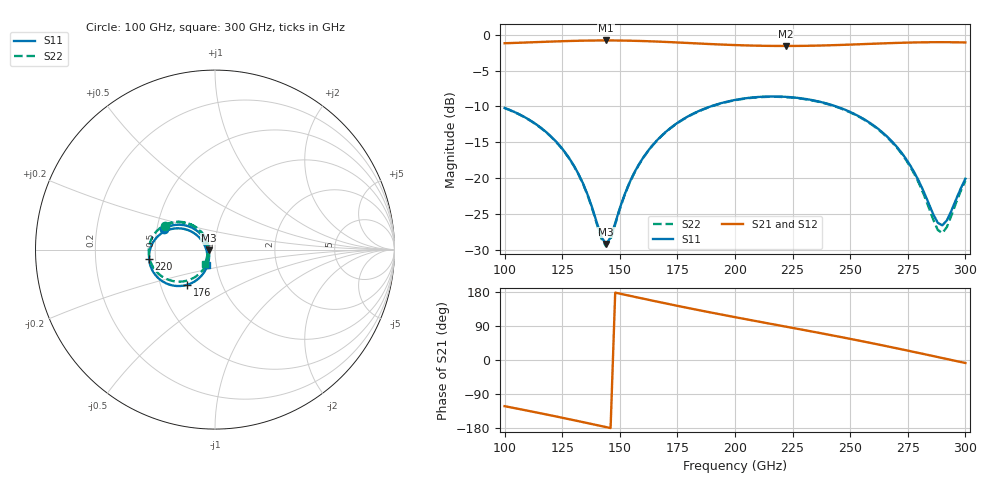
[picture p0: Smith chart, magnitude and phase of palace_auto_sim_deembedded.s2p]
! Created with skrf 1.11.0 (http://scikit-rf.org).
# GHz S DB R 50.0
!freq dBS11 angS11 dBS21 angS21 dBS12 angS12 dBS22 angS22
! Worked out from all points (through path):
!   101 points, 100 GHz to 300 GHz, reference 50 ohm
!   highest |S21| = -0.80 dB at 144 GHz (marker M1); lowest = -1.6 dB at 222 GHz (marker M2)
!   group delay of S21, straight-line fit = 3.38 ps
!   lowest |S11| = -29.2 dB at 144 GHz (marker M3), VSWR 1.07, Z = 46.7 - j0.461 ohm
!   |S11| at or under -10 dB: start of sweep to 189.3 GHz; 244 GHz to end of sweep
!   |S22| runs from -29.5 to -8.6 dB; largest |S21 - S12| = 1e-13
!   S11 on the Smith chart (normalised r, x): 100 GHz: 0.54, +0.14; 176 GHz: 0.68, -0.29; 220 GHz: 0.46, -0.05; 300 GHz: 0.90, -0.16
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100  -10.20 158.1  -1.19 -121.9  -1.19 -121.9  -10.23 154.3
120  -14.13 138.7  -0.96 -146.1  -0.96 -146.1  -14.17 133.9
128  -17.18 133.3  -0.88 -156.2  -0.88 -156.2  -17.23 128.2
134  -20.70 133.6  -0.83 -163.9  -0.83 -163.9  -20.76 127.9
142  -28.16 164.5  -0.80 -174.4  -0.80 -174.4  -28.40 158.5
144  -29.15 -171.9  -0.80 -177.0  -0.80 -177.0  -29.45 -177.3
146  -28.25 -147.9  -0.80 -179.6  -0.80 -179.6  -28.50 -152.7
152  -22.33 -118.2  -0.82 172.5  -0.82 172.5  -22.42 -123.2
156  -19.39 -115.0  -0.85 167.3  -0.85 167.3  -19.45 -120.4
168  -14.10 -120.9  -0.98 151.8  -0.98 151.8  -14.15 -126.9
176  -12.07 -128.2  -1.10 141.7  -1.10 141.7  -12.11 -134.6
200  -9.09 -152.3  -1.44 113.1  -1.44 113.1  -9.13 -159.8
220  -8.62 -172.3  -1.57 90.3  -1.57 90.3  -8.67 179.4
222  -8.66 -174.2  -1.57 88.1  -1.57 88.1  -8.70 177.3
234  -9.14 174.0  -1.53 74.4  -1.53 74.4  -9.19 164.9
254  -11.40 154.8  -1.33 51.0  -1.33 51.0  -11.46 144.6
268  -14.82 143.8  -1.17 33.6  -1.17 33.6  -14.92 132.5
278  -19.28 142.6  -1.08 20.8  -1.08 20.8  -19.49 129.8
288  -26.19 178.1  -1.04 7.8  -1.04 7.8  -27.19 165.5
290  -26.55 -163.9  -1.04 5.2  -1.04 5.2  -27.64 -174.1
292  -25.84 -146.8  -1.05 2.6  -1.05 2.6  -26.76 -155.0
300  -20.06 -117.9  -1.08 -7.9  -1.08 -7.9  -20.32 -126.2
